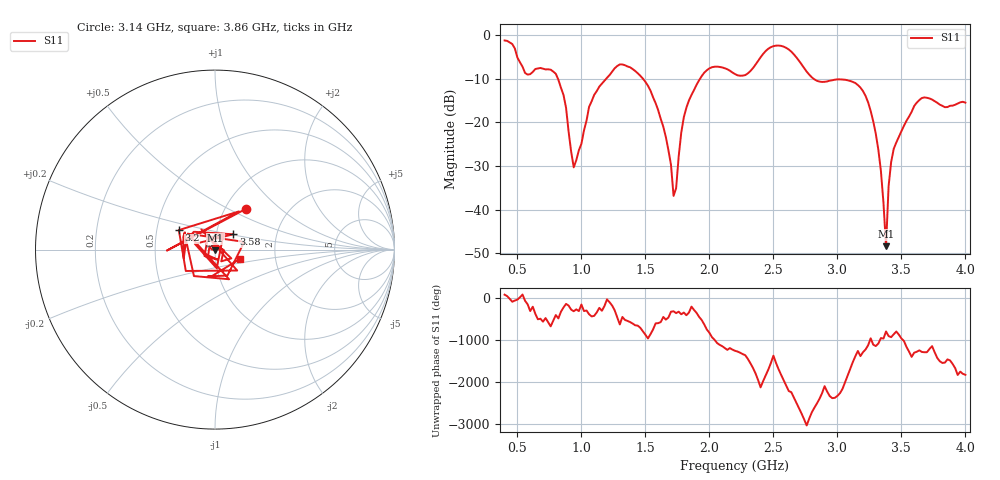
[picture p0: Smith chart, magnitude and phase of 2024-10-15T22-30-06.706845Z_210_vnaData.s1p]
! Created with skrf (http://scikit-rf.org).
# Hz S RI R 50.0
!freq ReS11 ImS11
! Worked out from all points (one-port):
!   181 points, 400 MHz to 4 GHz, reference 50 ohm
!   lowest |S11| = -48.3 dB at 3.38 GHz (marker M1), VSWR 1.01, Z = 50.1 - j0.367 ohm
!   |S11| at or under -10 dB: 817.1 MHz to 1.193 GHz (375.6 MHz wide, 37.4 % of centre); 1.482 GHz to 1.926 GHz (444.7 MHz wide, 26.1 % of centre); 2.815 GHz to end of sweep
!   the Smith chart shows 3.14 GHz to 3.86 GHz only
!   S11 on the Smith chart (normalised r, x): 3.14 GHz: 1.25, +0.61; 3.2 GHz: 0.65, +0.15; 3.58 GHz: 1.21, +0.21; 3.86 GHz: 1.32, -0.14
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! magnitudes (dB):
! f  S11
! 400 MHz  -1.2
! 560 MHz  -8.7
! 800 MHz  -8.8
! 860 MHz  -13.7
! 940 MHz  -30.3
! 1.1 GHz  -13.7
! 1.3 GHz  -6.7
! 1.58 GHz  -15.6
! 1.68 GHz  -26.4
! 1.72 GHz  -36.8
! 1.76 GHz  -27.8
! 1.82 GHz  -16.6
! 1.94 GHz  -9.4
! 2.2 GHz  -8.9
! 2.5 GHz  -2.5
! 2.66 GHz  -4.4
! 2.84 GHz  -10.5
! 3.1 GHz  -10.5
! 3.14 GHz  -11.0
! 3.2 GHz  -12.8
! 3.32 GHz  -26.3
! 3.38 GHz  -48.3
! 3.4 GHz  -34.6
! 3.42 GHz  -29.1
! 3.56 GHz  -18.6
! 3.58 GHz  -17.6
! 3.86 GHz  -16.5
! 4 GHz  -15.5
